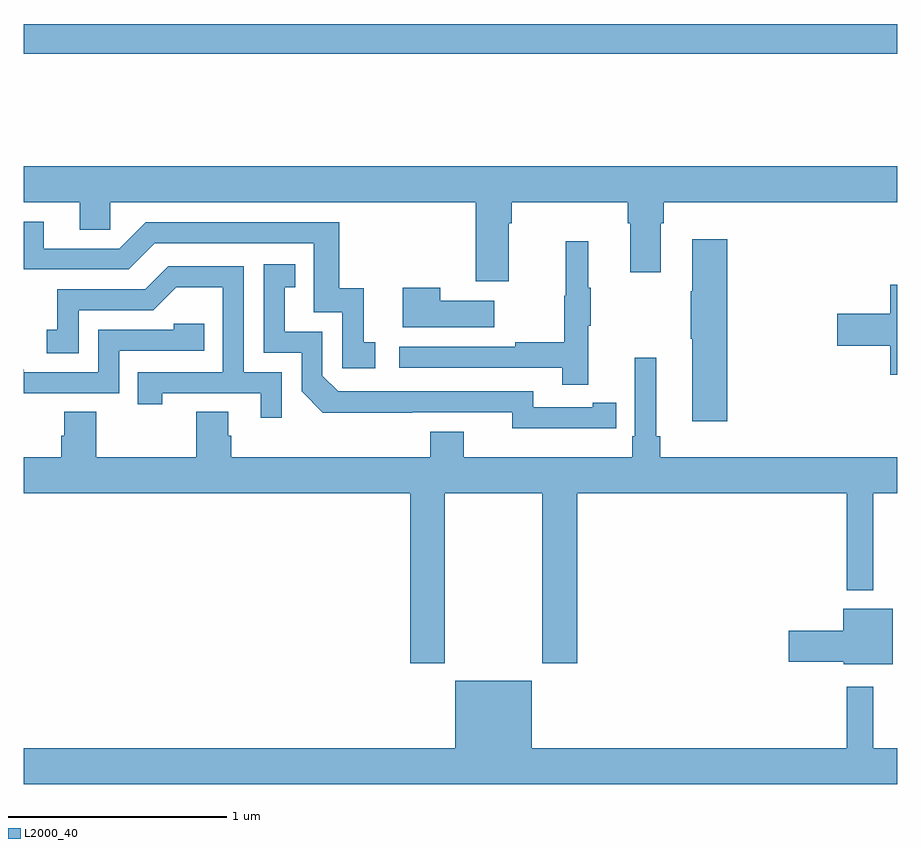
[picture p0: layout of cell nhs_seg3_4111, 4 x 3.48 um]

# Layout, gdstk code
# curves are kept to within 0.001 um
import gdstk
lib = gdstk.Library(unit=1e-6, precision=1e-09)
def R(c, l, rs):  # rectangles x0, y0, x1, y1
    for r in rs: c.add(gdstk.rectangle(r[:2], r[2:], *l))
def P(c, l, *ps):  # polygons
    for p in ps: c.add(gdstk.Polygon(p, *l))
L2000_40 = (2000, 40)

nhs_seg3_4111 = lib.new_cell('nhs_seg3_4111')
R(nhs_seg3_4111, L2000_40, [(327,732.232,331,732.368)])
P(nhs_seg3_4111, L2000_40, [(329.221,731.456),(329.234,731.456),(329.234,731.552),(329.765,731.552),(329.765,731.456),(329.777,731.456),(329.777,731.232),(329.917,731.232),(329.917,731.456),(329.93,731.456),(329.93,731.552),(331,731.552),(331,731.716),(327,731.716),(327,731.552),(327.257,731.552),(327.257,731.425),(327.396,731.425),(327.396,731.552),(329.069,731.552),(329.069,731.19),(329.221,731.19)],
  [(328.609,730.911),(328.556,730.911),(328.556,731.158),(328.445,731.158),(328.445,731.46),(327.558,731.46),(327.438,731.34),(327.091,731.34),(327.091,731.463),(327,731.463),(327,731.244),(327.48,731.244),(327.6,731.364),(328.329,731.364),(328.329,731.049),(328.458,731.049),(328.458,730.791),(328.609,730.791)],
  [(330.221,731.383),(330.062,731.383),(330.062,731.144),(330.055,731.144),(330.055,730.927),(330.062,730.927),(330.062,730.548),(330.221,730.548)],
  [(329.585,730.987),(329.596,730.987),(329.596,731.161),(329.585,731.161),(329.585,731.374),(329.482,731.374),(329.482,731.124),(329.475,731.124),(329.475,730.91),(329.251,730.91),(329.251,730.89),(328.719,730.89),(328.719,730.794),(329.467,730.794),(329.467,730.716),(329.585,730.716)],
  [(329.606,730.518),(329.714,730.518),(329.714,730.634),(329.606,730.634),(329.606,730.614),(329.334,730.614),(329.334,730.686),(328.44,730.686),(328.368,730.758),(328.368,730.959),(328.195,730.959),(328.195,731.163),(328.244,731.163),(328.244,731.269),(328.098,731.269),(328.098,730.863),(328.272,730.863),(328.272,730.686),(328.37,730.589),(329.238,730.59),(329.238,730.517)],
  [(328.182,730.773),(328.008,730.773),(328.008,731.259),(327.662,731.259),(327.557,731.154),(327.154,731.154),(327.154,730.969),(327.105,730.969),(327.105,730.86),(327.252,730.86),(327.252,731.058),(327.594,731.058),(327.698,731.162),(327.912,731.162),(327.912,730.773),(327.523,730.773),(327.523,730.626),(327.634,730.626),(327.634,730.677),(328.085,730.677),(328.085,730.566),(328.182,730.566)],
  [(331,731.173),(330.968,731.173),(330.968,731.042),(330.726,731.042),(330.726,730.895),(330.968,730.895),(330.968,730.763),(331,730.763)],
  [(329.155,731.101),(328.907,731.101),(328.907,731.161),(328.736,731.161),(328.736,730.979),(329.155,730.979)],
  [(327.438,730.872),(327.827,730.872),(327.827,730.995),(327.687,730.995),(327.687,730.968),(327.342,730.968),(327.342,730.773),(327.001,730.773),(327.001,730.786),(327,730.786),(327,730.677),(327.438,730.677)],
  [(329.374,729.441),(329.534,729.441),(329.534,730.22),(330.768,730.22),(330.768,729.776),(330.889,729.776),(330.889,730.22),(331,730.22),(331,730.384),(329.915,730.384),(329.915,730.48),(329.896,730.48),(329.896,730.84),(329.799,730.84),(329.799,730.48),(329.786,730.48),(329.786,730.384),(329.014,730.384),(329.014,730.501),(328.862,730.501),(328.862,730.384),(327.95,730.384),(327.95,730.482),(327.937,730.482),(327.937,730.592),(327.79,730.592),(327.79,730.384),(327.333,730.384),(327.333,730.592),(327.185,730.592),(327.185,730.482),(327.173,730.482),(327.173,730.384),(327,730.384),(327,730.22),(328.769,730.22),(328.769,729.441),(328.929,729.441),(328.929,730.22),(329.374,730.22)],
  [(330.979,729.691),(330.752,729.691),(330.752,729.59),(330.504,729.59),(330.504,729.448),(330.756,729.448),(330.756,729.437),(330.979,729.437)],
  [(331,729.052),(330.889,729.052),(330.889,729.334),(330.768,729.334),(330.768,729.052),(329.326,729.052),(329.326,729.361),(328.976,729.361),(328.976,729.052),(327,729.052),(327,728.888),(331,728.888)])

lib.write_gds('nhs_seg3_4111.gds')
